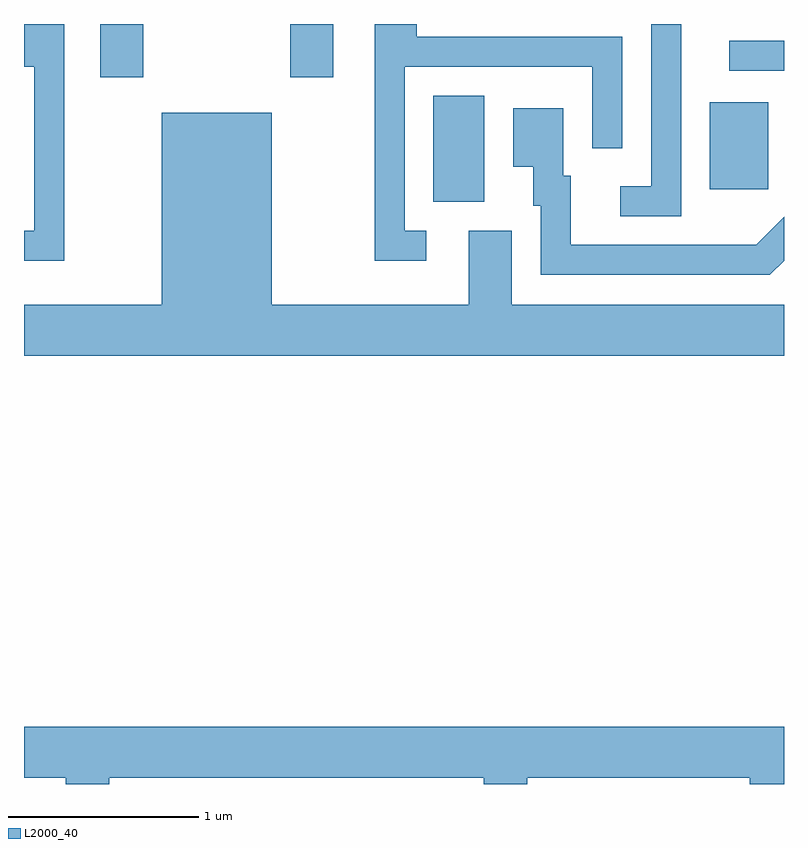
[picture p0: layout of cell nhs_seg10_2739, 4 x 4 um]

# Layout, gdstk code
import gdstk
lib = gdstk.Library(unit=1e-6, precision=1e-09)
def R(c, l, rs):  # rectangles x0, y0, x1, y1
    for r in rs: c.add(gdstk.rectangle(r[:2], r[2:], *l))
def P(c, l, *ps):  # polygons
    for p in ps: c.add(gdstk.Polygon(p, *l))
L2000_40 = (2000, 40)

nhs_seg10_2739 = lib.new_cell('nhs_seg10_2739')
R(nhs_seg10_2739, L2000_40, [(267.766,2143.586,268.034,2144.144), (269.221,2143.651,269.529,2144.109), (266.011,2144.241,266.239,2144.522), (267.011,2144.241,267.239,2144.522), (269.323,2144.276,269.611,2144.434)])
P(nhs_seg10_2739, L2000_40, [(267.728,2143.434),(267.614,2143.434),(267.614,2144.296),(268.601,2144.296),(268.601,2143.868),(268.759,2143.868),(268.759,2144.454),(267.679,2144.454),(267.679,2144.522),(267.456,2144.522),(267.456,2143.276),(267.728,2143.276)],
  [(269.069,2144.522),(268.911,2144.522),(268.911,2143.669),(268.748,2143.669),(268.748,2143.511),(269.069,2143.511)],
  [(265.824,2144.522),(265.611,2144.522),(265.611,2144.296),(265.666,2144.296),(265.666,2143.434),(265.611,2143.434),(265.611,2143.276),(265.824,2143.276)],
  [(269.611,2143.275),(269.611,2143.507),(269.464,2143.359),(268.489,2143.359),(268.489,2143.724),(268.449,2143.724),(268.449,2144.079),(268.186,2144.079),(268.186,2143.771),(268.291,2143.771),(268.291,2143.566),(268.331,2143.566),(268.331,2143.201),(269.537,2143.201)],
  [(269.611,2143.044),(268.179,2143.044),(268.179,2143.434),(267.951,2143.434),(267.951,2143.044),(266.914,2143.044),(266.914,2144.054),(266.336,2144.054),(266.336,2143.044),(265.611,2143.044),(265.611,2142.776),(269.611,2142.776)],
  [(266.059,2140.556),(268.031,2140.556),(268.031,2140.522),(268.259,2140.522),(268.259,2140.556),(269.431,2140.556),(269.431,2140.522),(269.611,2140.522),(269.611,2140.824),(265.611,2140.824),(265.611,2140.556),(265.831,2140.556),(265.831,2140.522),(266.059,2140.522)])

lib.write_gds('nhs_seg10_2739.gds')
